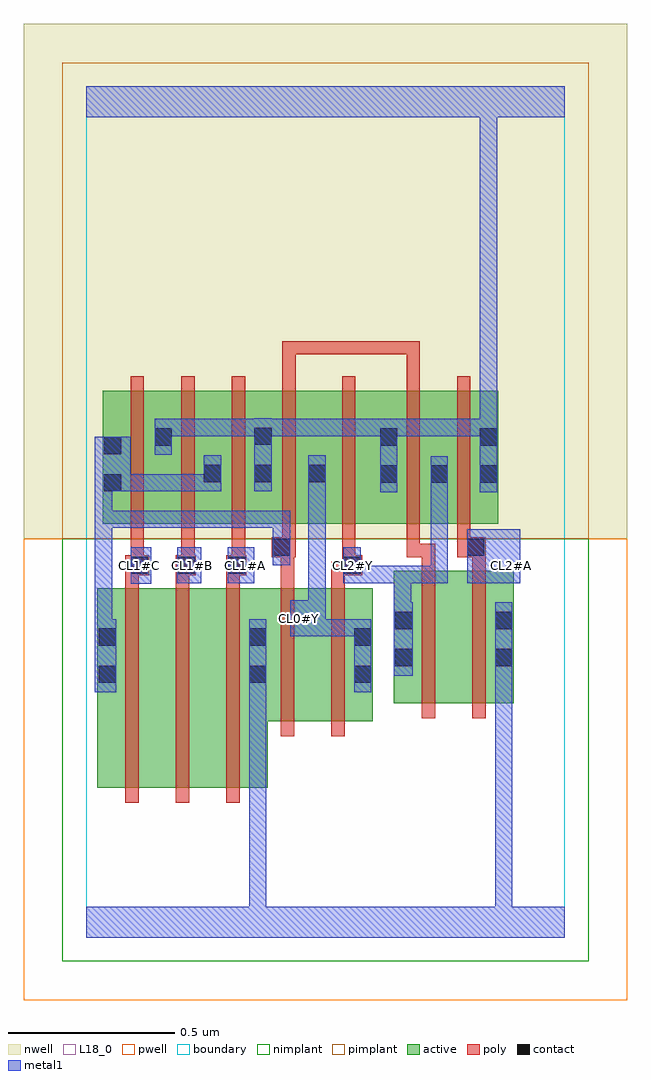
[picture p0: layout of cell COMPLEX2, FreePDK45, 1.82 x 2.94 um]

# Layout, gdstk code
import gdstk
lib = gdstk.Library(unit=1e-6, precision=1e-09)
def R(c, l, rs):  # rectangles x0, y0, x1, y1
    for r in rs: c.add(gdstk.rectangle(r[:2], r[2:], *l))
def A(c, l, x, y, w, h, nx, ny, dx, dy):  # array of equal rectangles
    R(c, l, [(x+i*dx, y+j*dy, x+i*dx+w, y+j*dy+h) for i in range(nx) for j in range(ny)])
active = (1, 0)
pwell = (2, 0)
nwell = (3, 0)
nimplant = (4, 0)
pimplant = (5, 0)
poly = (9, 0)
contact = (10, 0)
metal1 = (11, 0)
L18_0 = (18, 0)
boundary = (235, 0)

complex2 = lib.new_cell('COMPLEX2')
R(complex2, active, [(0.034,0.45,0.214,1.05), (0.214,0.45,0.366,1.05), (0.366,0.45,0.546,1.05), (0.486,0.45,0.546,0.984), (0.034,0.556,0.094,1.05), (0.486,0.65,0.682,1.05), (0.682,0.65,0.862,1.05), (0.802,0.65,0.862,1.05), (0.926,0.704,0.986,1.104), (0.926,0.704,1.106,1.104), (1.106,0.704,1.286,1.104), (1.226,0.704,1.286,1.104), (0.05,1.244,0.11,1.644), (0.05,1.244,0.262,1.644), (0.202,1.244,0.262,1.644), (0.202,1.244,0.41,1.644), (0.35,1.244,0.41,1.644), (0.35,1.244,0.562,1.644), (0.502,1.244,0.562,1.644), (0.502,1.244,0.724,1.644), (0.664,1.244,0.724,1.644), (0.664,1.244,0.94,1.644), (0.88,1.244,0.94,1.644), (0.88,1.244,1.092,1.644), (1.032,1.244,1.092,1.644), (1.032,1.244,1.24,1.644), (1.18,1.244,1.24,1.644)])
R(complex2, pwell, [(-0.188,-0.188,1.628,1.2)])
R(complex2, nwell, [(-0.188,1.2,1.628,2.748)])
R(complex2, nimplant, [(-0.072,-0.072,1.512,1.2)])
R(complex2, pimplant, [(-0.072,1.2,1.512,2.632)])
A(complex2, poly, 0.118, 0.406, 0.04, 0.688, 3, 1, 0.152, 0)
A(complex2, poly, 0.118, 1.054, 0.04, 0.076, 3, 1, 0.152, 0)
A(complex2, poly, 0.134, 1.11, 0.04, 0.13, 3, 1, 0.152, 0)
A(complex2, poly, 0.134, 1.2, 0.04, 0.488, 4, 1, 0.152, 0)
R(complex2, poly, [(0.586,0.606,0.626,1.094), (0.738,0.606,0.778,1.094), (1.01,0.66,1.05,1.148), (1.162,0.66,1.202,1.148), (0.586,1.054,0.626,1.184), (0.738,1.054,0.778,1.13), (0.118,1.09,0.19,1.15), (0.27,1.09,0.33,1.15), (0.422,1.09,0.482,1.15), (0.738,1.09,0.81,1.13), (0.77,1.09,0.81,1.13), (0.77,1.09,0.83,1.15), (1.01,1.108,1.05,1.184), (1.162,1.108,1.202,1.184), (0.134,1.11,0.174,1.15), (0.134,1.11,0.174,1.15), (0.286,1.11,0.326,1.15), (0.286,1.11,0.326,1.15), (0.438,1.11,0.478,1.15), (0.438,1.11,0.478,1.15), (0.77,1.11,0.81,1.24), (0.558,1.144,0.63,1.204), (0.586,1.144,0.626,1.184), (0.586,1.144,0.626,1.184), (0.964,1.144,1.004,1.24), (0.964,1.144,1.05,1.184), (1.01,1.144,1.05,1.184), (1.01,1.144,1.05,1.184), (1.116,1.144,1.202,1.204), (1.162,1.144,1.202,1.184), (1.162,1.144,1.202,1.184), (0.59,1.164,0.63,1.24), (1.116,1.164,1.156,1.24), (0.77,1.2,0.81,1.688), (0.964,1.2,1.004,1.688), (1.116,1.2,1.156,1.688), (0.59,1.648,0.63,1.794), (0.964,1.648,1.004,1.794), (0.59,1.754,0.63,1.794), (0.59,1.754,0.63,1.794), (0.59,1.754,0.63,1.794), (0.59,1.754,0.898,1.794), (0.858,1.754,0.898,1.794), (0.858,1.754,0.898,1.794), (0.858,1.754,0.898,1.794), (0.858,1.754,1.004,1.794), (0.964,1.754,1.004,1.794), (0.964,1.754,1.004,1.794), (0.964,1.754,1.004,1.794)])
R(complex2, contact, [(0.038,0.766,0.09,0.818), (0.49,0.766,0.542,0.818), (0.806,0.766,0.858,0.818), (0.93,0.816,0.982,0.868), (1.23,0.816,1.282,0.868), (0.038,0.878,0.09,0.93), (0.49,0.878,0.542,0.93), (0.806,0.878,0.858,0.93), (0.93,0.928,0.982,0.98), (1.23,0.928,1.282,0.98), (0.134,1.094,0.186,1.146), (0.274,1.094,0.326,1.146), (0.426,1.094,0.478,1.146), (0.774,1.094,0.826,1.146), (0.562,1.148,0.614,1.2), (1.146,1.148,1.198,1.2), (0.054,1.342,0.106,1.394), (0.884,1.368,0.936,1.42), (1.036,1.368,1.088,1.42), (1.184,1.368,1.236,1.42), (0.354,1.37,0.406,1.422), (0.506,1.37,0.558,1.422), (0.668,1.37,0.72,1.422), (0.054,1.454,0.106,1.506), (0.206,1.48,0.258,1.532), (0.884,1.48,0.936,1.532), (1.184,1.48,1.236,1.532), (0.506,1.482,0.558,1.534)])
R(complex2, metal1, [(0,0,1.44,0.092), (0.49,0.04,0.542,0.092), (0.49,0.04,0.542,0.092), (0.49,0.04,0.542,0.092), (0.49,0.04,0.542,0.092), (0.49,0.04,0.542,0.092), (0.49,0.04,0.542,0.092), (0.49,0.04,0.542,0.092), (0.49,0.04,0.542,0.092), (0.49,0.04,0.542,0.79), (1.23,0.04,1.282,0.092), (1.23,0.04,1.282,0.092), (1.23,0.04,1.282,0.092), (1.23,0.04,1.282,0.092), (1.23,0.04,1.282,0.092), (1.23,0.04,1.282,0.092), (1.23,0.04,1.282,0.092), (1.23,0.04,1.282,0.092), (1.23,0.04,1.282,0.092), (1.23,0.04,1.282,0.092), (1.23,0.04,1.282,0.092), (1.23,0.04,1.282,0.092), (1.23,0.04,1.282,0.84), (0.026,0.738,0.09,0.958), (0.49,0.738,0.542,0.958), (0.806,0.738,0.858,0.958), (0.926,0.788,0.982,1.008), (1.23,0.788,1.282,1.008), (0.026,0.906,0.078,1.284), (0.614,0.906,0.72,1.014), (0.668,0.906,0.826,0.958), (0.774,0.906,0.826,0.958), (0.774,0.906,0.858,0.958), (0.806,0.906,0.858,0.958), (0.806,0.906,0.858,0.958), (0.926,0.956,0.978,1.118), (0.668,0.962,0.72,1.394), (0.134,1.064,0.196,1.174), (0.274,1.066,0.346,1.174), (0.426,1.066,0.506,1.174), (0.774,1.066,0.826,1.174), (0.774,1.066,0.978,1.118), (0.926,1.066,0.978,1.118), (0.926,1.066,0.978,1.118), (0.926,1.066,0.978,1.118), (0.926,1.066,0.978,1.118), (0.926,1.066,0.978,1.118), (0.926,1.066,1.088,1.118), (1.036,1.066,1.088,1.118), (1.036,1.066,1.088,1.118), (1.036,1.066,1.088,1.118), (1.036,1.066,1.088,1.392), (1.146,1.066,1.306,1.228), (0.562,1.12,0.614,1.284), (0.026,1.232,0.078,1.284), (0.026,1.232,0.078,1.284), (0.026,1.232,0.078,1.284), (0.026,1.232,0.078,1.284), (0.026,1.232,0.078,1.284), (0.026,1.232,0.078,1.394), (0.026,1.232,0.276,1.284), (0.224,1.232,0.276,1.284), (0.224,1.232,0.276,1.284), (0.224,1.232,0.276,1.284), (0.224,1.232,0.432,1.284), (0.38,1.232,0.432,1.284), (0.38,1.232,0.432,1.284), (0.38,1.232,0.432,1.284), (0.38,1.232,0.542,1.284), (0.49,1.232,0.542,1.284), (0.49,1.232,0.614,1.284), (0.884,1.34,0.936,1.56), (1.036,1.34,1.088,1.448), (1.184,1.34,1.236,1.56), (0.026,1.342,0.134,1.506), (0.082,1.342,0.134,1.394), (0.082,1.342,0.134,1.394), (0.082,1.342,0.244,1.394), (0.192,1.342,0.244,1.394), (0.192,1.342,0.244,1.394), (0.192,1.342,0.244,1.394), (0.192,1.342,0.406,1.394), (0.354,1.342,0.406,1.45), (0.506,1.342,0.558,1.562), (0.668,1.342,0.72,1.394), (0.668,1.342,0.72,1.394), (0.668,1.342,0.72,1.45), (0.206,1.452,0.258,1.56), (0.206,1.508,0.258,1.56), (0.206,1.508,0.258,1.56), (0.206,1.508,0.432,1.56), (0.38,1.508,0.432,1.56), (0.38,1.508,0.432,1.56), (0.38,1.508,0.432,1.56), (0.38,1.508,0.558,1.56), (0.506,1.508,0.558,1.56), (0.506,1.508,0.558,1.56), (0.506,1.508,0.724,1.56), (0.672,1.508,0.724,1.56), (0.672,1.508,0.724,1.56), (0.672,1.508,0.724,1.56), (0.672,1.508,0.936,1.56), (0.884,1.508,0.936,1.56), (0.884,1.508,0.936,1.56), (0.884,1.508,1.088,1.56), (1.036,1.508,1.088,1.56), (1.036,1.508,1.088,1.56), (1.036,1.508,1.088,1.56), (1.036,1.508,1.236,1.56), (1.184,1.508,1.236,1.56), (1.184,1.508,1.236,1.56), (1.184,1.508,1.236,1.56), (1.184,1.508,1.236,1.56), (1.184,1.508,1.236,1.56), (1.184,1.508,1.236,1.56), (1.184,1.508,1.236,2.52), (0,2.468,1.44,2.56), (1.184,2.468,1.236,2.52), (1.184,2.468,1.236,2.52), (1.184,2.468,1.236,2.52), (1.184,2.468,1.236,2.52), (1.184,2.468,1.236,2.52), (1.184,2.468,1.236,2.52), (1.184,2.468,1.236,2.52), (1.184,2.468,1.236,2.52), (1.184,2.468,1.236,2.52), (1.184,2.468,1.236,2.52), (1.184,2.468,1.236,2.52), (1.184,2.468,1.236,2.52)])
A(complex2, L18_0, 0.134, 1.094, 0.052, 0.052, 3, 1, 0.16, 0)
R(complex2, L18_0, [(0,0,1.44,0.092), (0.49,0.04,0.542,0.092), (0.49,0.04,0.542,0.092), (0.49,0.04,0.542,0.092), (0.49,0.04,0.542,0.092), (0.49,0.04,0.542,0.092), (0.49,0.04,0.542,0.092), (0.49,0.04,0.542,0.092), (0.49,0.04,0.542,0.092), (0.49,0.04,0.542,0.79), (1.23,0.04,1.282,0.092), (1.23,0.04,1.282,0.092), (1.23,0.04,1.282,0.092), (1.23,0.04,1.282,0.092), (1.23,0.04,1.282,0.092), (1.23,0.04,1.282,0.092), (1.23,0.04,1.282,0.092), (1.23,0.04,1.282,0.092), (1.23,0.04,1.282,0.092), (1.23,0.04,1.282,0.092), (1.23,0.04,1.282,0.092), (1.23,0.04,1.282,0.092), (1.23,0.04,1.282,0.84), (0.49,0.738,0.542,0.958), (0.806,0.738,0.858,0.958), (0.926,0.788,0.982,1.008), (1.23,0.788,1.282,1.008), (0.614,0.906,0.72,1.014), (0.668,0.906,0.826,0.958), (0.774,0.906,0.826,0.958), (0.774,0.906,0.858,0.958), (0.806,0.906,0.858,0.958), (0.806,0.906,0.858,0.958), (0.614,0.934,0.666,0.986), (0.926,0.956,0.978,1.118), (0.668,0.962,0.72,1.394), (0.134,1.064,0.196,1.174), (0.274,1.066,0.346,1.174), (0.426,1.066,0.506,1.174), (0.774,1.066,0.826,1.174), (0.774,1.066,0.978,1.118), (0.926,1.066,0.978,1.118), (0.926,1.066,0.978,1.118), (0.926,1.066,0.978,1.118), (0.926,1.066,0.978,1.118), (0.926,1.066,0.978,1.118), (0.926,1.066,1.088,1.118), (1.036,1.066,1.088,1.118), (1.036,1.066,1.088,1.118), (1.036,1.066,1.088,1.118), (1.036,1.066,1.088,1.392), (1.146,1.066,1.306,1.228), (0.774,1.094,0.826,1.146), (1.254,1.094,1.306,1.146), (0.884,1.34,0.936,1.56), (1.036,1.34,1.088,1.448), (1.184,1.34,1.236,1.56), (0.506,1.342,0.558,1.562), (0.668,1.342,0.72,1.45), (0.668,1.342,0.72,1.394), (0.668,1.342,0.72,1.394), (0.206,1.452,0.258,1.56), (0.206,1.508,0.258,1.56), (0.206,1.508,0.258,1.56), (0.206,1.508,0.432,1.56), (0.38,1.508,0.432,1.56), (0.38,1.508,0.432,1.56), (0.38,1.508,0.432,1.56), (0.38,1.508,0.558,1.56), (0.506,1.508,0.558,1.56), (0.506,1.508,0.558,1.56), (0.506,1.508,0.724,1.56), (0.672,1.508,0.724,1.56), (0.672,1.508,0.724,1.56), (0.672,1.508,0.724,1.56), (0.672,1.508,0.936,1.56), (0.884,1.508,0.936,1.56), (0.884,1.508,0.936,1.56), (0.884,1.508,1.088,1.56), (1.036,1.508,1.088,1.56), (1.036,1.508,1.088,1.56), (1.036,1.508,1.088,1.56), (1.036,1.508,1.236,1.56), (1.184,1.508,1.236,1.56), (1.184,1.508,1.236,1.56), (1.184,1.508,1.236,1.56), (1.184,1.508,1.236,1.56), (1.184,1.508,1.236,1.56), (1.184,1.508,1.236,1.56), (1.184,1.508,1.236,2.52), (0,2.468,1.44,2.56), (1.184,2.468,1.236,2.52), (1.184,2.468,1.236,2.52), (1.184,2.468,1.236,2.52), (1.184,2.468,1.236,2.52), (1.184,2.468,1.236,2.52), (1.184,2.468,1.236,2.52), (1.184,2.468,1.236,2.52), (1.184,2.468,1.236,2.52), (1.184,2.468,1.236,2.52), (1.184,2.468,1.236,2.52), (1.184,2.468,1.236,2.52), (1.184,2.468,1.236,2.52)])
R(complex2, boundary, [(0,0,1.44,2.56)])
complex2.add(gdstk.Label('CL0#Y', (0.64,0.96), layer=11, texttype=0))
complex2.add(gdstk.Label('CL1#A', (0.48,1.12), layer=11, texttype=0))
complex2.add(gdstk.Label('CL1#B', (0.32,1.12), layer=11, texttype=0))
complex2.add(gdstk.Label('CL1#C', (0.16,1.12), layer=11, texttype=0))
complex2.add(gdstk.Label('CL2#A', (1.28,1.12), layer=11, texttype=0))
complex2.add(gdstk.Label('CL2#Y', (0.8,1.12), layer=11, texttype=0))

lib.write_gds('COMPLEX2.gds')
